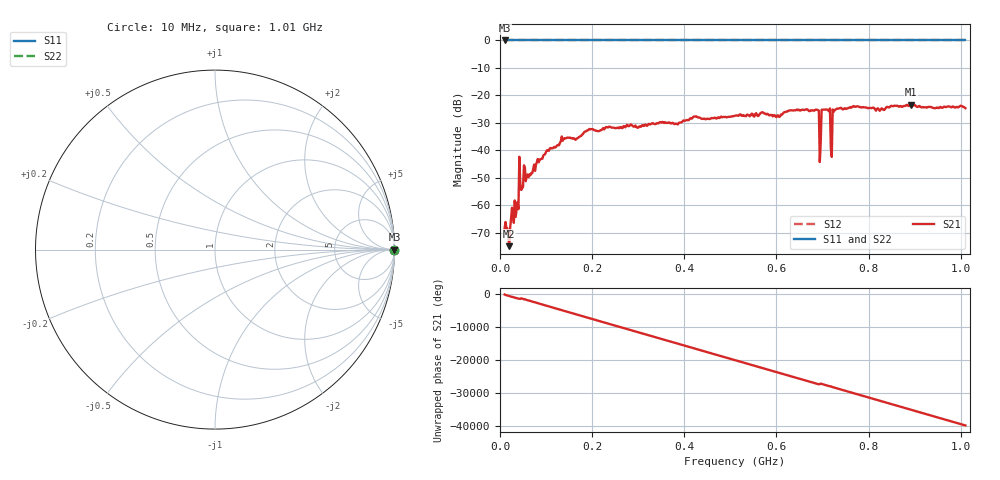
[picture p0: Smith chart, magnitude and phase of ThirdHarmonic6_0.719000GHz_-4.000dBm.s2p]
! 8/16/2025 12:02:00 AM
! C:\ANRITSUVNA\TEMP\TEMP.S2P
! CHANNEL.1
! TR.MEASUREMENT
! RAW.DATA
! RF.CORRECTION.OFF
! AVERAGING.OFF
! IF.BANDWIDTH: 5KHZ
! SWEEPTYPE:  FREQ.SWEEP(Linear)
! Reference Plane Port Info
! PORT:  PORT1  PORT2
! DISTANCE:  0  m  0  m
! TIME:  0  s  0  s
! PHASE.OFFSET:  0  deg.  0  deg.
! LOSS:  0  dB  0  dB
! REF.LOSS:  0  dB  0  dB
! REF.FREQ:  0  Hz  0  Hz
! Power Info
! POWER:  -20  dBm  -20  dBm
! EFF.POWER:  -20  dBm  -20  dBm
! SOURCE.ATTEN:  0  dB  0  dB
! TEST.ATTEN:  0  dB  0  dB
# GHZ S RI R 50.0
! FREQ.GHZ  S11RE  S11IM  S21RE  S21IM  S12RE  S12IM  S22RE  S22IM
!; PortSelection: Port_12
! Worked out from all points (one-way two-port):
!   501 points, 10 MHz to 1.01 GHz, reference 50 ohm
!   highest |S21| = -23.29 dB at 892 MHz (marker M1); lowest = -74.8 dB at 20 MHz (marker M2)
!   lowest |S11| = 0.0 dB at 10 MHz (marker M3)
!   |S11| at or under -10 dB: nowhere
!   |S22| runs from 0.0 to 0.0 dB; largest |S21 - S12| = 1.1
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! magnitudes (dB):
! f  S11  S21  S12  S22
! 10 MHz  0.0  -68.4  0.0  0.0
! 20 MHz  0.0  -74.8  0.0  0.0
! 36 MHz  0.0  -61.5  0.0  0.0
! 46 MHz  0.0  -54.4  0.0  0.0
! 56 MHz  0.0  -51.2  0.0  0.0
! 136 MHz  0.0  -36.5  0.0  0.0
! 178 MHz  0.0  -34.2  0.0  0.0
! 344 MHz  0.0  -30.2  0.0  0.0
! 510 MHz  0.0  -27.4  0.0  0.0
! 678 MHz  0.0  -25.4  0.0  0.0
! 688 MHz  0.0  -25.2  0.0  0.0
! 694 MHz  0.0  -44.2  0.0  0.0
! 698 MHz  0.0  -25.2  0.0  0.0
! 702 MHz  0.0  -25.1  0.0  0.0
! 712 MHz  0.0  -25.4  0.0  0.0
! 716 MHz  0.0  -24.7  0.0  0.0
! 722 MHz  0.0  -25.1  0.0  0.0
! 726 MHz  0.0  -25.4  0.0  0.0
! 732 MHz  0.0  -24.7  0.0  0.0
! 844 MHz  0.0  -24.4  0.0  0.0
! 892 MHz  0.0  -23.3  0.0  0.0
! 1.01 GHz  0.0  -24.6  0.0  0.0
